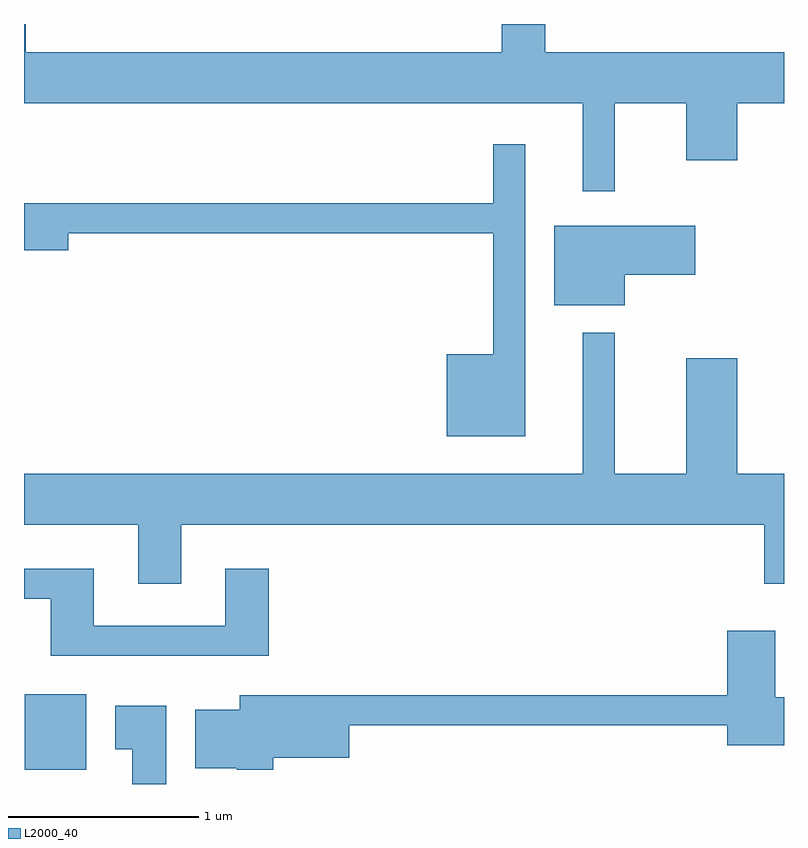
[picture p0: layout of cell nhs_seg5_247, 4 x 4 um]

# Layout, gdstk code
import gdstk
lib = gdstk.Library(unit=1e-6, precision=1e-09)
def R(c, l, rs):  # rectangles x0, y0, x1, y1
    for r in rs: c.add(gdstk.rectangle(r[:2], r[2:], *l))
def P(c, l, *ps):  # polygons
    for p in ps: c.add(gdstk.Polygon(p, *l))
L2000_40 = (2000, 40)

nhs_seg5_247 = lib.new_cell('nhs_seg5_247')
R(nhs_seg5_247, L2000_40, [(191.616,1482.146,191.939,1482.544)])
P(nhs_seg5_247, L2000_40, [(194.719,1485.656),(195.096,1485.656),(195.096,1485.356),(195.364,1485.356),(195.364,1485.656),(195.611,1485.656),(195.611,1485.924),(194.354,1485.924),(194.354,1486.072),(194.126,1486.072),(194.126,1485.924),(191.619,1485.924),(191.619,1486.072),(191.611,1486.072),(191.611,1485.656),(194.551,1485.656),(194.551,1485.193),(194.719,1485.193)],
  [(194.249,1485.438),(194.081,1485.438),(194.081,1485.129),(191.611,1485.129),(191.611,1484.881),(191.844,1484.881),(191.844,1484.971),(194.081,1484.971),(194.081,1484.334),(193.836,1484.334),(193.836,1483.901),(194.249,1483.901)],
  [(194.774,1484.751),(195.144,1484.751),(195.144,1485.009),(194.401,1485.009),(194.401,1484.591),(194.774,1484.591)],
  [(192.439,1483.436),(195.506,1483.436),(195.506,1483.126),(195.611,1483.126),(195.611,1483.704),(195.364,1483.704),(195.364,1484.314),(195.096,1484.314),(195.096,1483.704),(194.719,1483.704),(194.719,1484.448),(194.551,1484.448),(194.551,1483.704),(191.611,1483.704),(191.611,1483.436),(192.211,1483.436),(192.211,1483.126),(192.439,1483.126)],
  [(192.899,1483.204),(192.671,1483.204),(192.671,1482.904),(191.979,1482.904),(191.979,1483.204),(191.611,1483.204),(191.611,1483.046),(191.751,1483.046),(191.751,1482.746),(192.899,1482.746)],
  [(192.924,1482.211),(193.324,1482.211),(193.324,1482.381),(195.311,1482.381),(195.311,1482.276),(195.611,1482.276),(195.611,1482.529),(195.564,1482.529),(195.564,1482.879),(195.311,1482.879),(195.311,1482.539),(192.746,1482.539),(192.746,1482.464),(192.511,1482.464),(192.511,1482.156),(192.73,1482.156),(192.73,1482.146),(192.924,1482.146)],
  [(192.359,1482.484),(192.091,1482.484),(192.091,1482.256),(192.181,1482.256),(192.181,1482.072),(192.359,1482.072)])

lib.write_gds('nhs_seg5_247.gds')
